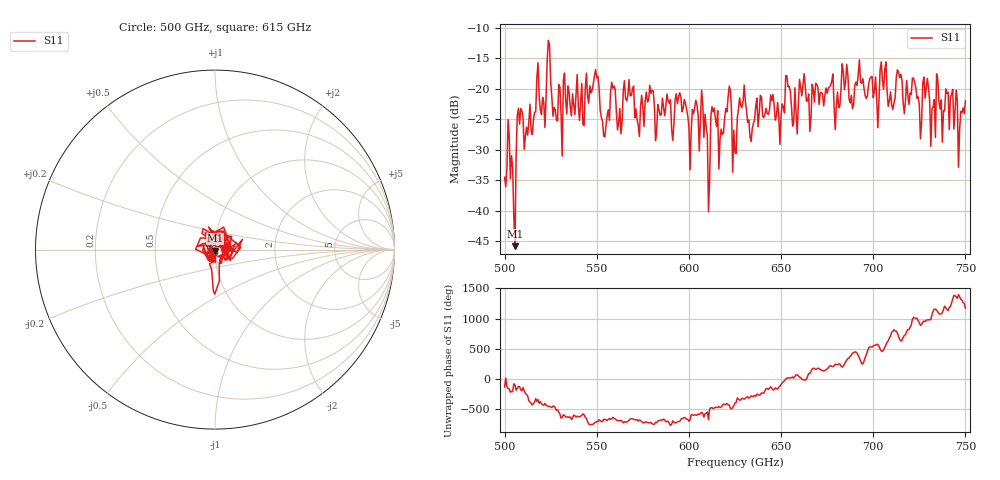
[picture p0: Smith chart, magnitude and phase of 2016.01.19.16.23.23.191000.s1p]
!Created with skrf (http://scikit-rf.org).
# GHz S RI R 50.0
!freq ReS11 ImS11
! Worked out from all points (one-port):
!   401 points, 500 GHz to 750 GHz, reference 50 ohm
!   lowest |S11| = -45.8 dB at 505.6 GHz (marker M1), VSWR 1.01, Z = 49.9 - j0.506 ohm
!   |S11| at or under -10 dB: start of sweep to end of sweep
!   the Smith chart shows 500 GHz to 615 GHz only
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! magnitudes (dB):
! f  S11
! 500 GHz  -34.5
! 503.1 GHz  -34.8
! 504.4 GHz  -32.9
! 505.6 GHz  -45.8
! 508.1 GHz  -25.8
! 520.6 GHz  -21.4
! 523.8 GHz  -12.1
! 527.5 GHz  -23.5
! 531.2 GHz  -31.1
! 549.4 GHz  -16.9
! 553.8 GHz  -27.8
! 558.8 GHz  -19.9
! 562.5 GHz  -23.2
! 566.2 GHz  -22.0
! 571.9 GHz  -25.1
! 593.8 GHz  -22.5
! 608.1 GHz  -28.0
! 610.6 GHz  -40.2
! 613.1 GHz  -23.8
! 617.5 GHz  -26.6
! 621.9 GHz  -19.6
! 625 GHz  -30.4
! 628.8 GHz  -23.1
! 633.8 GHz  -28.7
! 656.2 GHz  -26.1
! 687.5 GHz  -22.4
! 718.8 GHz  -21.0
! 750 GHz  -22.0
